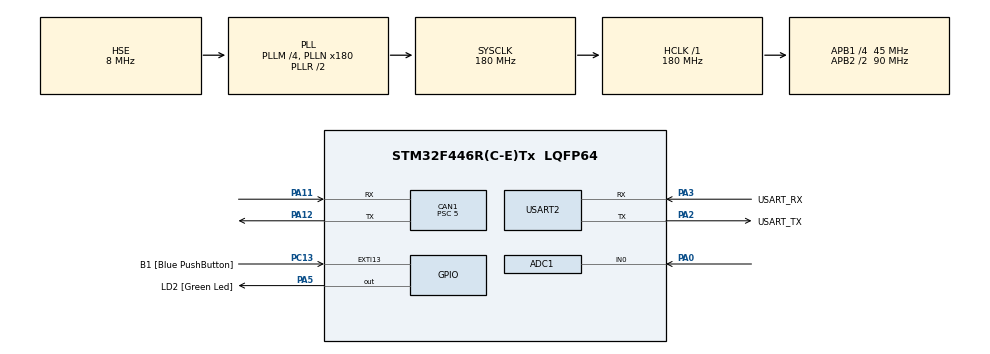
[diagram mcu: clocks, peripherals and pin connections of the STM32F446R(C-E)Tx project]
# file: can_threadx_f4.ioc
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ADC1.Channel-0\#ChannelRegularConversion=ADC_CHANNEL_0
ADC1.ContinuousConvMode=ENABLE
ADC1.NbrOfConversionFlag=1
ADC1.Rank-0\#ChannelRegularConversion=1
ADC1.SamplingTime-0\#ChannelRegularConversion=ADC_SAMPLETIME_3CYCLES
ADC1.master=1
CAN1.BS1=CAN_BS1_15TQ
CAN1.BS2=CAN_BS2_2TQ
CAN1.CalculateBaudRate=500000
CAN1.CalculateTimeBit=2000
CAN1.CalculateTimeQuantum=111.11111111111111
CAN1.Prescaler=5
Mcu.Family=STM32F4
Mcu.Name=STM32F446R(C-E)Tx
Mcu.Package=LQFP64
NVIC.ADC_IRQn=true\:5\:0\:true\:false\:true\:false\:true\:true\:true
NVIC.CAN1_RX0_IRQn=true\:6\:0\:true\:false\:true\:false\:true\:true\:true
NVIC.PriorityGroup=NVIC_PRIORITYGROUP_4
NVIC.TIM6_DAC_IRQn=true\:15\:0\:true\:false\:true\:false\:false\:true\:true
NVIC.TimeBase=TIM6_DAC_IRQn
NVIC.TimeBaseIP=TIM6
PA0-WKUP.Signal=ADCx_IN0
PA11.Mode=CAN_Activate
PA11.Signal=CAN1_RX
PA12.Mode=CAN_Activate
PA12.Signal=CAN1_TX
PA13.GPIO_Label=TMS
PA13.Mode=Serial_Wire
PA13.Signal=SYS_JTMS-SWDIO
PA14.GPIO_Label=TCK
PA14.Mode=Serial_Wire
PA14.Signal=SYS_JTCK-SWCLK
PA2.GPIO_Label=USART_TX
PA2.Mode=Asynchronous
PA2.Signal=USART2_TX
PA3.GPIO_Label=USART_RX
PA3.Mode=Asynchronous
PA3.Signal=USART2_RX
PA5.GPIO_Label=LD2 [Green Led]
PA5.Signal=GPIO_Output
PB3.GPIO_Label=SWO
PB3.Signal=SYS_JTDO-SWO
PC13.GPIO_Label=B1 [Blue PushButton]
PC13.GPIO_ModeDefaultEXTI=GPIO_MODE_IT_FALLING
PC13.Signal=GPXTI13
PC14-OSC32_IN.Signal=RCC_OSC32_IN
PC15-OSC32_OUT.Signal=RCC_OSC32_OUT
PH0-OSC_IN.Mode=HSE-External-Oscillator
PH0-OSC_IN.Signal=RCC_OSC_IN
PH1-OSC_OUT.Mode=HSE-External-Oscillator
PH1-OSC_OUT.Signal=RCC_OSC_OUT
ProjectManager.HeapSize=0x200
ProjectManager.StackSize=0x400
ProjectManager.TargetToolchain=STM32CubeIDE
RCC.AHBFreq_Value=180000000
RCC.APB1CLKDivider=RCC_HCLK_DIV4
RCC.APB1Freq_Value=45000000
RCC.APB1TimFreq_Value=90000000
RCC.APB2CLKDivider=RCC_HCLK_DIV2
RCC.APB2Freq_Value=90000000
RCC.APB2TimFreq_Value=180000000
RCC.CortexFreq_Value=180000000
RCC.FLatency-AdvancedSettings=FLASH_LATENCY_5
RCC.HCLKFreq_Value=180000000
RCC.HSE_VALUE=8000000
RCC.HSI_VALUE=16000000
RCC.LSE_VALUE=32768
RCC.PLLM=4
RCC.PLLN=180
RCC.PLLP=RCC_PLLP_DIV4
RCC.PLLSourceVirtual=RCC_PLLSOURCE_HSE
RCC.SYSCLKFreq_VALUE=180000000
RCC.SYSCLKSource=RCC_SYSCLKSOURCE_PLLRCLK
RCC.USBFreq_Value=180000000
RCC.VCOOutputFreq_Value=360000000
SH.ADCx_IN0.0=ADC1_IN0,IN0
STMicroelectronics.X-CUBE-AZRTOS-F4.1.1.0.TX_APP_MEM_POOL_SIZE=16*1024
STMicroelectronics.X-CUBE-AZRTOS-F4.1.1.0.ThreadXCcRTOSJjThreadXJjCore=true
STMicroelectronics.X-CUBE-AZRTOS-F4.1.1.0_IsAnAzureRtosMw=true
USART2.VirtualMode=VM_ASYNC
VP_STMicroelectronics.X-CUBE-AZRTOS-F4_VS_RTOSJjThreadX_6.1.10_1.1.0.Mode=RTOSJjThreadX
VP_SYS_VS_tim6.Mode=TIM6
board=NUCLEO-F446RE

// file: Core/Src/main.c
/* USER CODE BEGIN Header */
/**
  ******************************************************************************
  * @file           : main.c
  * @brief          : Main program body
  ******************************************************************************
  * @attention
  *
  * Copyright (c) 2026 STMicroelectronics.
  * All rights reserved.
  *
  * This software is licensed under terms that can be found in the LICENSE file
  * in the root directory of this software component.
  * If no LICENSE file comes with this software, it is provided AS-IS.
  *
  ******************************************************************************
  */
/* USER CODE END Header */
#include "app_threadx.h"
#include "main.h"

/* USER CODE BEGIN Includes */
#include <stdio.h>
/* USER CODE END Includes */

ADC_HandleTypeDef hadc1;

CAN_HandleTypeDef hcan1;

UART_HandleTypeDef huart2;

void SystemClock_Config(void);
static void MX_GPIO_Init(void);
static void MX_ADC1_Init(void);
static void MX_CAN1_Init(void);
static void MX_USART2_UART_Init(void);
/* USER CODE BEGIN PFP */

int _write(int file, char *ptr, int len) {
    HAL_UART_Transmit(&huart2, (uint8_t*)ptr, len, HAL_MAX_DELAY);
    return len;
}

/* USER CODE END PFP */

int main(void)
{

  /* MCU Configuration--------------------------------------------------------*/

  /* Reset of all peripherals, Initializes the Flash interface and the Systick. */
  HAL_Init();

  /* Configure the system clock */
  SystemClock_Config();

  /* Initialize all configured peripherals */
  MX_GPIO_Init();
  MX_ADC1_Init();
  MX_CAN1_Init();
  MX_USART2_UART_Init();
  /* USER CODE BEGIN 2 */
  printf("Booting STM32...\r\n");
  /* USER CODE END 2 */

  MX_ThreadX_Init();

  /* We should never get here as control is now taken by the scheduler */

  /* Infinite loop */
  while (1)
  {

  }
}

void SystemClock_Config(void)
{
  RCC_OscInitTypeDef RCC_OscInitStruct = {0};
  RCC_ClkInitTypeDef RCC_ClkInitStruct = {0};

  /** Configure the main internal regulator output voltage
  */
  __HAL_RCC_PWR_CLK_ENABLE();
  __HAL_PWR_VOLTAGESCALING_CONFIG(PWR_REGULATOR_VOLTAGE_SCALE1);

  /** Initializes the RCC Oscillators according to the specified parameters
  * in the RCC_OscInitTypeDef structure.
  */
  RCC_OscInitStruct.OscillatorType = RCC_OSCILLATORTYPE_HSE;
  RCC_OscInitStruct.HSEState = RCC_HSE_ON;
  RCC_OscInitStruct.PLL.PLLState = RCC_PLL_ON;
  RCC_OscInitStruct.PLL.PLLSource = RCC_PLLSOURCE_HSE;
  RCC_OscInitStruct.PLL.PLLM = 4;
  RCC_OscInitStruct.PLL.PLLN = 180;
  RCC_OscInitStruct.PLL.PLLP = RCC_PLLP_DIV4;
  RCC_OscInitStruct.PLL.PLLQ = 2;
  RCC_OscInitStruct.PLL.PLLR = 2;
  if (HAL_RCC_OscConfig(&RCC_OscInitStruct) != HAL_OK)
  {
    Error_Handler();
  }

  /** Activate the Over-Drive mode
  */
  if (HAL_PWREx_EnableOverDrive() != HAL_OK)
  {
    Error_Handler();
  }

  /** Initializes the CPU, AHB and APB buses clocks
  */
  RCC_ClkInitStruct.ClockType = RCC_CLOCKTYPE_HCLK|RCC_CLOCKTYPE_SYSCLK
                              |RCC_CLOCKTYPE_PCLK1|RCC_CLOCKTYPE_PCLK2;
  RCC_ClkInitStruct.SYSCLKSource = RCC_SYSCLKSOURCE_PLLRCLK;
  RCC_ClkInitStruct.AHBCLKDivider = RCC_SYSCLK_DIV1;
  RCC_ClkInitStruct.APB1CLKDivider = RCC_HCLK_DIV4;
  RCC_ClkInitStruct.APB2CLKDivider = RCC_HCLK_DIV2;

  if (HAL_RCC_ClockConfig(&RCC_ClkInitStruct, FLASH_LATENCY_5) != HAL_OK)
  {
    Error_Handler();
  }
}

static void MX_ADC1_Init(void)
{

  ADC_ChannelConfTypeDef sConfig = {0};

  /** Configure the global features of the ADC (Clock, Resolution, Data Alignment and number of conversion)
  */
  hadc1.Instance = ADC1;
  hadc1.Init.ClockPrescaler = ADC_CLOCK_SYNC_PCLK_DIV4;
  hadc1.Init.Resolution = ADC_RESOLUTION_12B;
  hadc1.Init.ScanConvMode = DISABLE;
  hadc1.Init.ContinuousConvMode = ENABLE;
  hadc1.Init.DiscontinuousConvMode = DISABLE;
  hadc1.Init.ExternalTrigConvEdge = ADC_EXTERNALTRIGCONVEDGE_NONE;
  hadc1.Init.ExternalTrigConv = ADC_SOFTWARE_START;
  hadc1.Init.DataAlign = ADC_DATAALIGN_RIGHT;
  hadc1.Init.NbrOfConversion = 1;
  hadc1.Init.DMAContinuousRequests = DISABLE;
  hadc1.Init.EOCSelection = ADC_EOC_SINGLE_CONV;
  if (HAL_ADC_Init(&hadc1) != HAL_OK)
  {
    Error_Handler();
  }

  /** Configure for the selected ADC regular channel its corresponding rank in the sequencer and its sample time.
  */
  sConfig.Channel = ADC_CHANNEL_0;
  sConfig.Rank = 1;
  sConfig.SamplingTime = ADC_SAMPLETIME_3CYCLES;
  if (HAL_ADC_ConfigChannel(&hadc1, &sConfig) != HAL_OK)
  {
    Error_Handler();
  }

}

static void MX_CAN1_Init(void)
{

  hcan1.Instance = CAN1;
  hcan1.Init.Prescaler = 5;
  hcan1.Init.Mode = CAN_MODE_NORMAL;
  hcan1.Init.SyncJumpWidth = CAN_SJW_1TQ;
  hcan1.Init.TimeSeg1 = CAN_BS1_15TQ;
  hcan1.Init.TimeSeg2 = CAN_BS2_2TQ;
  hcan1.Init.TimeTriggeredMode = DISABLE;
  hcan1.Init.AutoBusOff = DISABLE;
  hcan1.Init.AutoWakeUp = DISABLE;
  hcan1.Init.AutoRetransmission = DISABLE;
  hcan1.Init.ReceiveFifoLocked = DISABLE;
  hcan1.Init.TransmitFifoPriority = DISABLE;
  if (HAL_CAN_Init(&hcan1) != HAL_OK)
  {
    Error_Handler();
  }
  /* USER CODE BEGIN CAN1_Init 2 */

  CAN_FilterTypeDef canfilterconfig;

  canfilterconfig.FilterActivation = CAN_FILTER_ENABLE;
  canfilterconfig.FilterBank = 18;  // which filter bank to use from the assigned ones
  canfilterconfig.FilterFIFOAssignment = CAN_FILTER_FIFO0;
  canfilterconfig.FilterIdHigh = 0x476<<5;
  canfilterconfig.FilterIdLow = 0;
  canfilterconfig.FilterMaskIdHigh = (uint16_t)(0x7FFU << 5);
  canfilterconfig.FilterMaskIdLow = 0x0000;
  canfilterconfig.FilterMode = CAN_FILTERMODE_IDMASK;
  canfilterconfig.FilterScale = CAN_FILTERSCALE_32BIT;
  canfilterconfig.SlaveStartFilterBank = 20;  // how many filters to assign to the CAN1 (master can)

  HAL_CAN_ConfigFilter(&hcan1, &canfilterconfig);
  /* USER CODE END CAN1_Init 2 */

}

static void MX_USART2_UART_Init(void)
{

  huart2.Instance = USART2;
  huart2.Init.BaudRate = 115200;
  huart2.Init.WordLength = UART_WORDLENGTH_8B;
  huart2.Init.StopBits = UART_STOPBITS_1;
  huart2.Init.Parity = UART_PARITY_NONE;
  huart2.Init.Mode = UART_MODE_TX_RX;
  huart2.Init.HwFlowCtl = UART_HWCONTROL_NONE;
  huart2.Init.OverSampling = UART_OVERSAMPLING_16;
  if (HAL_UART_Init(&huart2) != HAL_OK)
  {
    Error_Handler();
  }

}

static void MX_GPIO_Init(void)
{
  GPIO_InitTypeDef GPIO_InitStruct = {0};

  /* GPIO Ports Clock Enable */
  __HAL_RCC_GPIOC_CLK_ENABLE();
  __HAL_RCC_GPIOH_CLK_ENABLE();
  __HAL_RCC_GPIOA_CLK_ENABLE();
  __HAL_RCC_GPIOB_CLK_ENABLE();

  /*Configure GPIO pin Output Level */
  HAL_GPIO_WritePin(LD2_GPIO_Port, LD2_Pin, GPIO_PIN_RESET);

  /*Configure GPIO pin : B1_Pin */
  GPIO_InitStruct.Pin = B1_Pin;
  GPIO_InitStruct.Mode = GPIO_MODE_IT_FALLING;
  GPIO_InitStruct.Pull = GPIO_NOPULL;
  HAL_GPIO_Init(B1_GPIO_Port, &GPIO_InitStruct);

  /*Configure GPIO pin : LD2_Pin */
  GPIO_InitStruct.Pin = LD2_Pin;
  GPIO_InitStruct.Mode = GPIO_MODE_OUTPUT_PP;
  GPIO_InitStruct.Pull = GPIO_NOPULL;
  GPIO_InitStruct.Speed = GPIO_SPEED_FREQ_LOW;
  HAL_GPIO_Init(LD2_GPIO_Port, &GPIO_InitStruct);

}

void HAL_TIM_PeriodElapsedCallback(TIM_HandleTypeDef *htim)
{
  if (htim->Instance == TIM6)
  {
    HAL_IncTick();
  }
}

void Error_Handler(void)
{
  __disable_irq();
  while (1)
  {
  }
}
